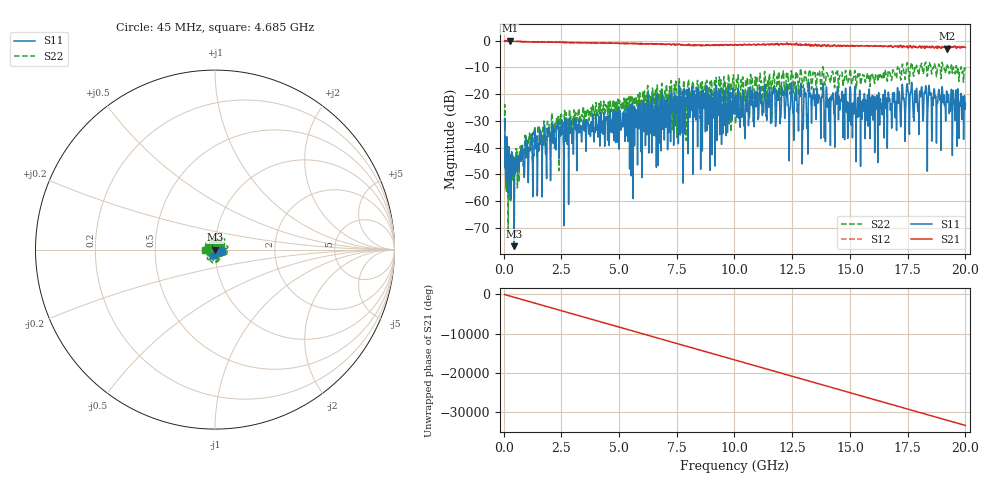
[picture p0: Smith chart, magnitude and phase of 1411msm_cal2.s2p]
!Agilent Technologies,E8364A,US41440322,A.04.87.01
!Agilent E8364A: A.04.87.01
!Date: Friday, July 12, 2024 10:40:28
!Correction: S11(Full 2 Port SOLT,1,2) S21(Full 2 Port SOLT,1,2) S12(Full 2 Port SOLT,1,2) S22(Full 2 Port SOLT,1,2)
!S2P File: Measurements: S11, S21, S12, S22:
# Hz S  dB  R 50
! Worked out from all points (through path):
!   6401 points, 45 MHz to 20 GHz, reference 50 ohm
!   highest |S21| = 0.02 dB at 263.3 MHz (marker M1); lowest = -3.0 dB at 19.19 GHz (marker M2)
!   group delay of S21, straight-line fit = 4.63 ns
!   lowest |S11| = -76.8 dB at 462.8 MHz (marker M3), VSWR 1.00, Z = 50 - j0.00723 ohm
!   |S11| at or under -10 dB: start of sweep to end of sweep
!   |S22| runs from -70.4 to -8.0 dB; largest |S21 - S12| = 0.13
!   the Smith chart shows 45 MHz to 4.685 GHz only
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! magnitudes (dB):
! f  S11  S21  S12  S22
! 45 MHz  -29.8  -0.1  -0.2  -28.0
! 160.4 MHz  -40.8  -0.2  -0.1  -40.6
! 263.3 MHz  -53.1  0.0  -0.2  -47.8
! 462.8 MHz  -76.8  -0.3  -0.2  -59.9
! 1.28 GHz  -45.9  -0.5  -0.5  -34.5
! 2.436 GHz  -33.0  -0.6  -0.6  -28.9
! 3.372 GHz  -36.7  -0.8  -0.8  -29.8
! 6.699 GHz  -46.6  -1.3  -1.2  -21.8
! 8.092 GHz  -20.7  -1.8  -1.7  -23.4
! 8.978 GHz  -18.5  -1.7  -1.6  -16.7
! 10.02 GHz  -21.8  -1.5  -1.5  -19.1
! 10.36 GHz  -18.6  -1.7  -1.6  -13.6
! 12.82 GHz  -18.6  -1.3  -1.6  -14.7
! 13.03 GHz  -18.0  -1.6  -1.6  -13.5
! 13.35 GHz  -25.0  -1.8  -1.5  -17.6
! 13.99 GHz  -17.4  -2.2  -1.8  -12.0
! 14.46 GHz  -17.1  -1.8  -2.2  -10.9
! 15.2 GHz  -19.8  -2.0  -2.1  -11.5
! 16.68 GHz  -20.1  -2.2  -1.9  -11.1
! 17.59 GHz  -24.7  -2.1  -2.2  -13.6
! 19.19 GHz  -18.8  -3.0  -2.2  -8.7
! 20 GHz  -23.4  -2.5  -2.5  -10.3
